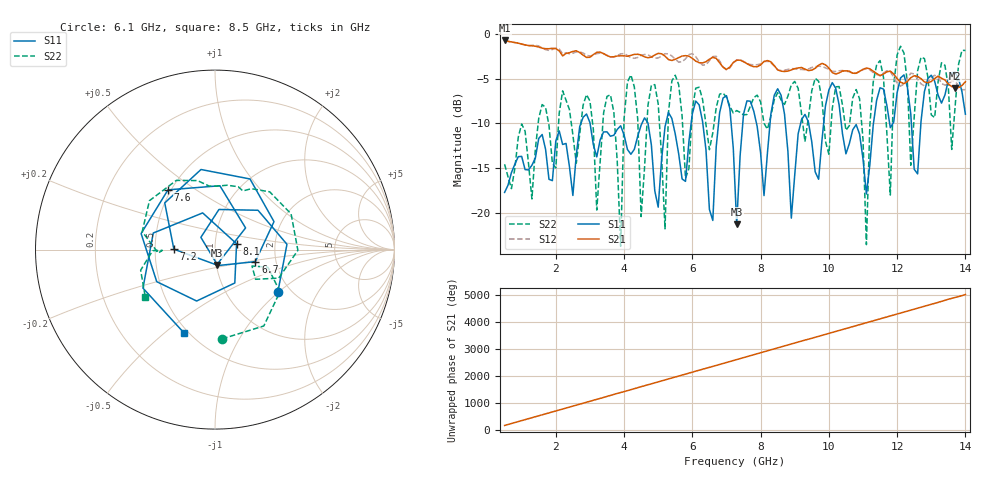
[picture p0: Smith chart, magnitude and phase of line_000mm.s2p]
!Created with skrf (http://scikit-rf.org).
# GHz S RI R 50.0
!freq ReS11 ImS11 ReS21 ImS21 ReS12 ImS12 ReS22 ImS22
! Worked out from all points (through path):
!   136 points, 500 MHz to 14 GHz, reference 50 ohm
!   highest |S21| = -0.69 dB at 500 MHz (marker M1); lowest = -6.0 dB at 13.7 GHz (marker M2)
!   lowest |S11| = -21.3 dB at 7.3 GHz (marker M3), VSWR 1.19, Z = 50.2 - j8.65 ohm
!   |S11| at or under -10 dB: start of sweep to 2.734 GHz; 3.004 GHz to 4.523 GHz (1.519 GHz wide, 40.4 % of centre); 10.36 GHz to 11.31 GHz (941.9 MHz wide, 8.69 % of centre)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
!   |S22| runs from -23.8 to -1.3 dB; largest |S21 - S12| = 0.056
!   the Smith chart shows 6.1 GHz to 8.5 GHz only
!   S11 on the Smith chart (normalised r, x): 6.1 GHz: 1.72, -0.99; 6.7 GHz: 1.56, -0.22; 7.2 GHz: 0.63, +0.00; 7.6 GHz: 0.48, +0.39; 8.1 GHz: 1.27, +0.08; 8.5 GHz: 0.47, -0.58
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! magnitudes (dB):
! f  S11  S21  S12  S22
! 500 MHz  -17.7  -0.7  -0.7  -14.6
! 2.8 GHz  -9.3  -2.3  -2.1  -7.9
! 3.9 GHz  -10.3  -2.4  -2.2  -23.8
! 4.1 GHz  -12.9  -2.5  -2.4  -5.3
! 4.5 GHz  -10.2  -2.3  -2.4  -20.5
! 5 GHz  -19.4  -2.1  -2.7  -7.8
! 5.2 GHz  -10.4  -2.4  -2.2  -21.8
! 6.1 GHz  -7.5  -3.0  -2.5  -6.0
! 6.7 GHz  -12.6  -2.7  -2.5  -8.2
! 7.2 GHz  -12.8  -3.2  -3.2  -8.8
! 7.3 GHz  -21.3  -2.9  -2.9  -8.6
! 7.6 GHz  -7.5  -3.3  -3.3  -9.0
! 8.1 GHz  -18.1  -3.0  -3.1  -10.0
! 8.5 GHz  -6.1  -4.0  -4.0  -6.5
! 9.5 GHz  -12.1  -4.0  -3.7  -6.3
! 10.9 GHz  -11.2  -4.1  -4.2  -7.2
! 11.1 GHz  -17.9  -3.8  -3.9  -23.6
! 11.5 GHz  -6.0  -4.6  -4.6  -2.9
! 11.8 GHz  -10.5  -4.1  -4.2  -18.0
! 12.1 GHz  -4.9  -5.4  -5.8  -1.3
! 13.7 GHz  -4.2  -6.0  -5.3  -8.0
! 14 GHz  -9.0  -5.3  -6.2  -1.8
